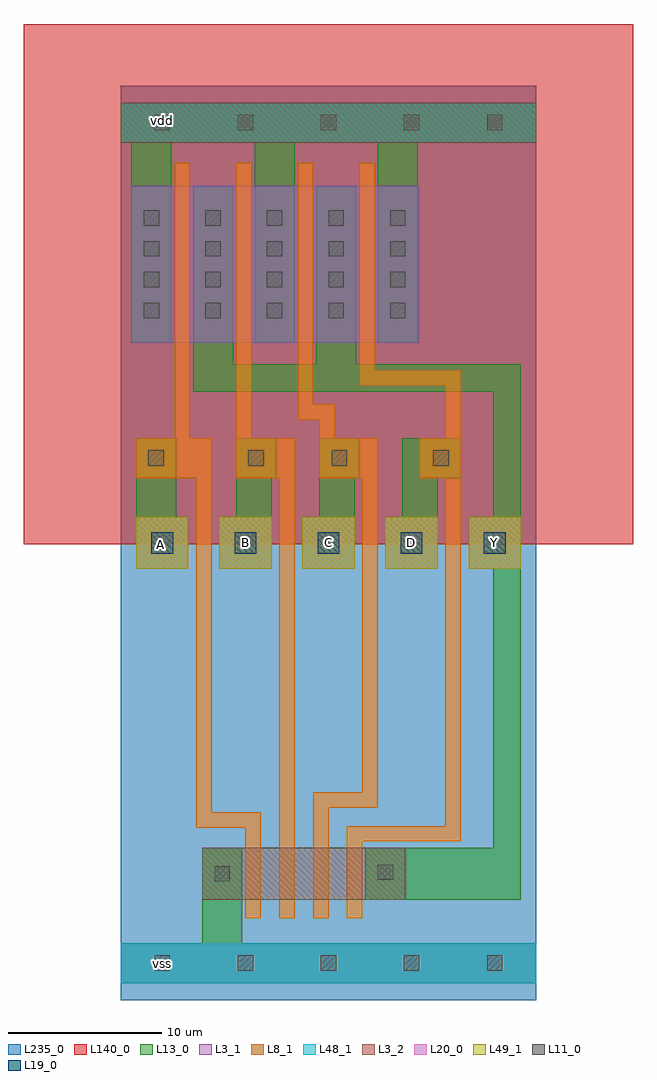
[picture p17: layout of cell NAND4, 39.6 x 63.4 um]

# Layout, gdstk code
import gdstk
lib = gdstk.Library(unit=1e-6, precision=1e-09)
def R(c, l, rs):  # rectangles x0, y0, x1, y1
    for r in rs: c.add(gdstk.rectangle(r[:2], r[2:], *l))
def A(c, l, x, y, w, h, nx, ny, dx, dy):  # array of equal rectangles
    R(c, l, [(x+i*dx, y+j*dy, x+i*dx+w, y+j*dy+h) for i in range(nx) for j in range(ny)])
def P(c, l, *ps):  # polygons
    for p in ps: c.add(gdstk.Polygon(p, *l))
L3_1 = (3, 1)
L3_2 = (3, 2)
L8_1 = (8, 1)
L11_0 = (11, 0)
L13_0 = (13, 0)
L19_0 = (19, 0)
L20_0 = (20, 0)
L48_1 = (48, 1)
L49_1 = (49, 1)
L140_0 = (140, 0)
L235_0 = (235, 0)

nand4 = lib.new_cell('NAND4')
R(nand4, L3_1, [(0,1.1,27,3.7), (0.7,42.7,7.3,52.9), (4.7,42.7,11.3,52.9), (11.3,42.7,19.4,52.9)])
R(nand4, L3_2, [(5.3,6.5,18.5,9.9), (0,55.7,27,58.3)])
P(nand4, L8_1, [(8.1,5.3),(8.1,11.2),(4.9,11.2),(4.9,33.9),(1,33.9),(1,36.5),(3.5,36.5),(3.5,54.4),(4.5,54.4),(4.5,36.5),(5.9,36.5),(5.9,12.2),(9.1,12.2),(9.1,5.3)],
  [(10.3,5.3),(10.3,33.9),(7.5,33.9),(7.5,54.4),(8.5,54.4),(8.5,36.5),(11.3,36.5),(11.3,5.3)],
  [(12.5,5.3),(12.5,13.5),(15.7,13.5),(15.7,33.9),(12.9,33.9),(12.9,37.7),(11.5,37.7),(11.5,54.4),(12.5,54.4),(12.5,38.7),(13.9,38.7),(13.9,36.5),(16.7,36.5),(16.7,12.5),(13.5,12.5),(13.5,5.3)],
  [(14.7,5.3),(14.7,11.3),(21.1,11.3),(21.1,33.9),(19.4,33.9),(19.4,36.5),(21.1,36.5),(21.1,39.9),(15.5,39.9),(15.5,54.4),(16.5,54.4),(16.5,40.9),(22.1,40.9),(22.1,10.3),(15.7,10.3),(15.7,5.3)])
A(nand4, L11_0, 1.5, 44.3, 1, 1, 5, 4, 4, 2)
R(nand4, L11_0, [(2.2,1.9,3.2,2.9), (7.6,1.9,8.6,2.9), (7.6,1.9,8.6,2.9), (13,1.9,14,2.9), (13,1.9,14,2.9), (18.4,1.9,19.4,2.9), (18.4,1.9,19.4,2.9), (23.8,1.9,24.8,2.9), (6.1,7.7,7.1,8.7), (16.7,7.8,17.7,8.8), (1.8,34.7,2.8,35.7), (8.3,34.7,9.3,35.7), (13.7,34.7,14.7,35.7), (20.3,34.7,21.3,35.7), (2.2,56.5,3.2,57.5), (2.2,56.5,3.2,57.5), (7.6,56.5,8.6,57.5), (7.6,56.5,8.6,57.5), (7.6,56.5,8.6,57.5), (7.6,56.5,8.6,57.5), (13,56.5,14,57.5), (13,56.5,14,57.5), (18.4,56.5,19.4,57.5), (18.4,56.5,19.4,57.5), (23.8,56.5,24.8,57.5)])
A(nand4, L13_0, 0.7, 42.7, 2.6, 13, 3, 1, 8, 0)
R(nand4, L13_0, [(5.3,3.7,7.9,9.9), (0,55.7,27,58.3)])
P(nand4, L13_0, [(1,28),(1,36.5),(3.6,36.5),(3.6,31.4),(4.4,31.4),(4.4,28)],
  [(6.4,28),(6.4,31.4),(7.5,31.4),(7.5,36.5),(10.1,36.5),(10.1,33.9),(9.8,33.9),(9.8,28)],
  [(11.8,28),(11.8,31.4),(12.9,31.4),(12.9,36.5),(15.5,36.5),(15.5,33.9),(15.2,33.9),(15.2,28)],
  [(17.2,28),(17.2,31.4),(18.3,31.4),(18.3,36.5),(22.1,36.5),(22.1,33.9),(20.6,33.9),(20.6,28)],
  [(15.9,6.5),(15.9,9.9),(24.2,9.9),(24.2,28),(22.6,28),(22.6,31.4),(24.2,31.4),(24.2,39.5),(4.7,39.5),(4.7,52.9),(7.3,52.9),(7.3,41.3),(12.7,41.3),(12.7,52.9),(15.3,52.9),(15.3,41.3),(26,41.3),(26,6.5)],
  [(0,1.1),(0,3.7),(0.7,3.7),(3.3,3.7),(27,3.7),(27,1.1)])
A(nand4, L19_0, 2, 29, 1.4, 1.4, 5, 1, 5.4, 0)
A(nand4, L20_0, 1, 28, 3.4, 3.4, 5, 1, 5.4, 0)
R(nand4, L48_1, [(0,1.1,27,3.7), (0,55.7,27,58.3)])
A(nand4, L49_1, 1, 28, 3.4, 3.4, 5, 1, 5.4, 0)
R(nand4, L140_0, [(-6.3,29.6,33.3,63.4)])
R(nand4, L235_0, [(0,0,27,59.4)])
nand4.add(gdstk.Label('Y', (24.3,29.7), layer=49, texttype=0))
nand4.add(gdstk.Label('C', (13.5,29.7), layer=49, texttype=0))
nand4.add(gdstk.Label('D', (18.9,29.7), layer=49, texttype=0))
nand4.add(gdstk.Label('A', (2.6,29.6), layer=49, texttype=0))
nand4.add(gdstk.Label('B', (8.1,29.7), layer=49, texttype=0))
nand4.add(gdstk.Label('vss', (2.7,2.4), layer=48, texttype=0))
nand4.add(gdstk.Label('vdd', (2.7,57.1), layer=48, texttype=0))

lib.write_gds('NAND4.gds')
